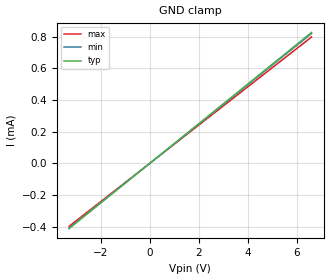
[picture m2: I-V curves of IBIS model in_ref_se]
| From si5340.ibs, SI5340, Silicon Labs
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[Model] in_ref_se
Model_type Input
Vinl = 330.000mV
Vinh = 800.000mV
C_comp 1.30000pF 1.30000pF 1.30000pF
| variable typ   min   max
[Voltage Range] 3.30000V 3.13500V 3.46500V
[POWER Clamp Reference] 3.30000V 3.13500V 3.46500V
[GND Clamp Reference] 0.00000V 0.00000V 0.00000V
[Temperature Range]   25   85   -40
[GND Clamp]
-3.3V     -413.5uA   -409.9uA   -399uA
-3V       -375.9uA   -372.7uA   -362.8uA
-2V       -250.6uA   -248.4uA   -241.8uA
-1V       -125.3uA   -124.2uA   -120.9uA
0V        0A         0A         0A
1V        125.3uA    124.2uA    120.9uA
2V        250.6uA    248.4uA    241.8uA
3V        375.9uA    372.7uA    362.8uA
4V        501.3uA    496.9uA    483.7uA
5V        626.6uA    621.1uA    604.6uA
6.6V      827.1uA    819.9uA    798.1uA
[POWER Clamp]
-3.3V     0A         0A         0A
6.6V      0A         0A         0A
